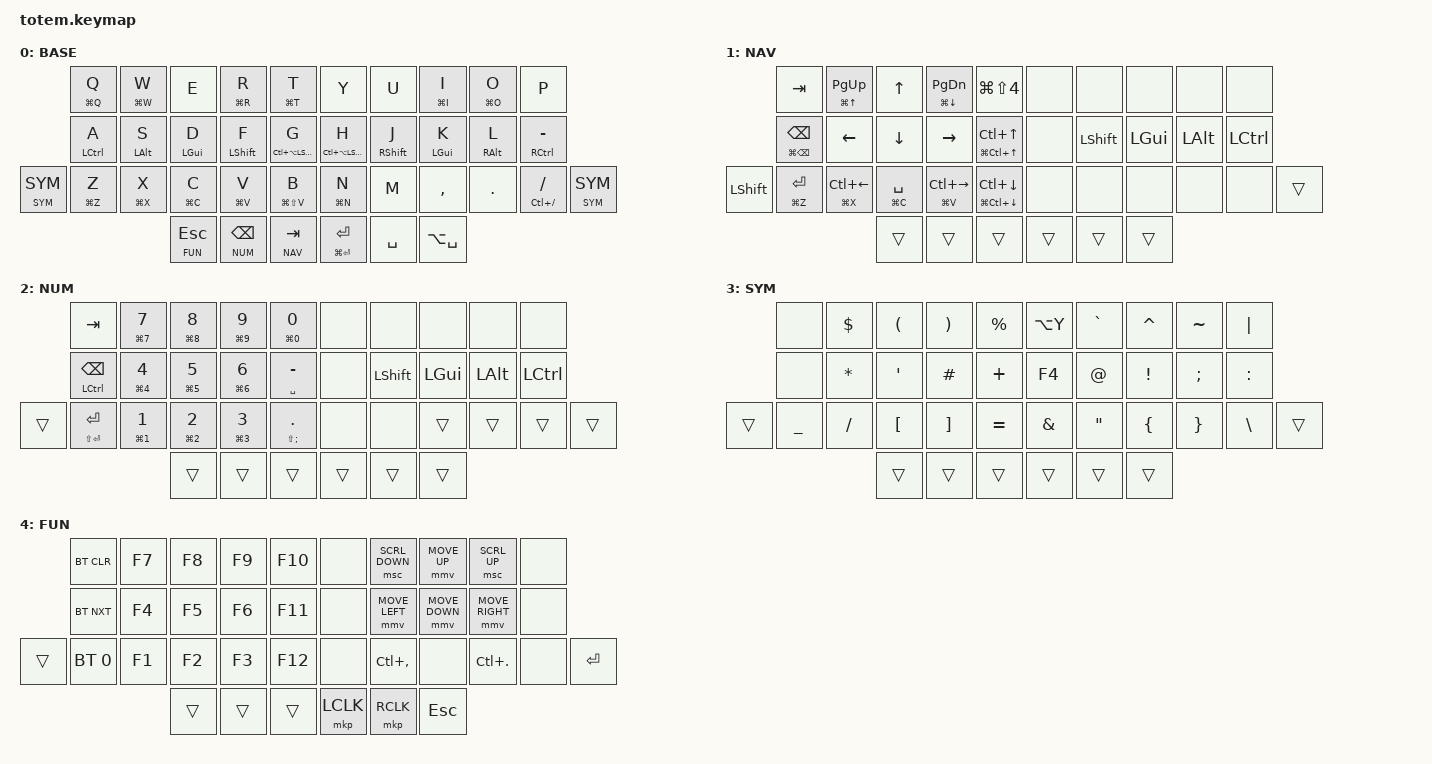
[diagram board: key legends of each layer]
//
//                                                        ▀▀▀▀▀     ▀▀▀▀▀          ▀▀█▀▀
//                                                        ▄▀▀▀▄  ▄  ▄▀▀▀▄  ▄  ▄▀▀▀▄  █  ▄▀▀▀▄
//                                                        █   █  █  █   █  █  █   █  █  █   █
//                                                         ▀▀▀   █   ▀▀▀   █   ▀▀▀   ▀   ▀▀▀
//                                                               █      ▄▄▄█▄▄▄    █   █  
//                                                               ▀      █  █  █     █▄█
//                                                             ▀▀▀▀▀    █  █  █      ▀
//                                                                      ▀  ▀  ▀
//
// ▄▄▄▄▄▄▄▄▄▄▄▄▄▄▄▄▄▄▄▄▄▄▄▄▄▄▄▄▄▄▄▄▄▄▄▄▄▄▄▄▄▄▄▄▄▄▄▄▄▄▄▄▄▄▄▄▄▄▄▄▄▄▄▄▄▄▄▄▄▄▄▄▄▄▄▄▄▄▄▄▄▄▄▄▄▄▄▄▄▄▄▄▄▄▄▄▄▄▄▄▄▄▄▄▄▄▄▄▄▄▄▄▄▄▄▄▄▄▄▄▄▄▄▄▄▄▄▄▄▄▄▄▄▄▄▄▄▄▄▄▄▄▄▄▄▄▄▄▄

// ═══════════════════════════════════════════════════════════════════
// MOUSE SPEEDS
// ═══════════════════════════════════════════════════════════════════
#define ZMK_POINTING_DEFAULT_MOVE_VAL 1000
#define ZMK_POINTING_DEFAULT_SCRL_VAL 20

// ═══════════════════════════════════════════════════════════════════
// INCLUDES
// ═══════════════════════════════════════════════════════════════════
#include <dt-bindings/zmk/pointing.h>   // Mouse control
#include <behaviors.dtsi>
#include <dt-bindings/zmk/keys.h>       // Standard key codes (A, B, LSHFT, etc.)
#include <dt-bindings/zmk/bt.h>         // Bluetooth controls (BT_NXT, BT_CLR, etc.)
#include <dt-bindings/zmk/outputs.h>    // Output toggle (USB vs BLE: OUT_TOG)
#include <dt-bindings/zmk/mouse.h>      // Mouse keys (mmv, mkp, msc)
// ═══════════════════════════════════════════════════════════════════
// LAYER INDEX
// ═══════════════════════════════════════════════════════════════════
#define BASE 0     // Default layer (QWERTY)
#define NAV  1     // Navigation
#define NUM  2     // Numpad
#define SYM  3     // Symbols
#define FUN  4     // Function keys, BLE & mouse

// ═══════════════════════════════════════════════════════════════════
// SHORTHAND MACRO
// MEH = Ctrl+Alt+Shift held simultaneously.
// ═══════════════════════════════════════════════════════════════════
#define MEH LC(LA(LSHFT))

// ═══════════════════════════════════════════════════════════════════
// HOLD-TAP GLOBAL SETTINGS (&mt = mod-tap)
// ═══════════════════════════════════════════════════════════════════
&mt {
  quick-tap-ms = <100>;
  global-quick-tap;
  flavor = "tap-preferred";
  tapping-term-ms = <220>;
};

/ {



    // ═══════════════════════════════════════════════════════════════
    // BEHAVIORS
    // ═══════════════════════════════════════════════════════════════
    behaviors {
        
        // OSL
        lt_sl: lt_sl {
            compatible = "zmk,behavior-hold-tap";
            #binding-cells = <2>;
            tapping-term-ms = <200>;
            quick-tap-ms = <100>;
            flavor = "tap-preferred";
            bindings = <&mo>, <&sl>;
        };

				// Slower tapping term for risky keys
				mt_slow: mt_slow {
    			compatible = "zmk,behavior-hold-tap";
    			#binding-cells = <2>;
    			tapping-term-ms = <400>; // Adjust delay here
    			quick-tap-ms = <100>;
    			flavor = "tap-preferred";
    			bindings = <&kp>, <&kp>;
				};

    };

    // ═══════════════════════════════════════════════════════════════
    // COMBOS
    // ═══════════════════════════════════════════════════════════════
    combos {
        compatible = "zmk,combos";

        // D+F (positions 12+13) → Eisu/EN input
        combo_eisu {
            timeout-ms = <50>;
            key-positions = <12 13>;
            bindings = <&kp LANG2>;
        };

        // J+K (positions 16+17) → Kana/JA input
        combo_kana {
            timeout-ms = <50>;
            key-positions = <16 17>;
            bindings = <&kp LANG1>;
        };

        // F+J (positions 13+16) → Caps Word
        combo_caps_word {
            timeout-ms = <100>;
            key-positions = <13 16>;
            bindings = <&caps_word>;
        };
    };

    // ═══════════════════════════════════════════════════════════════
    // MACROS
    // 
    // node_label: node_name {    ← define it here
    //   ...
    // }
    // 
    // &node_label    ← reference it like this in the keymap
    // ═══════════════════════════════════════════════════════════════
    macros {
      akqa: akqa {
        compatible = "zmk,behavior-macro";
        #binding-cells = <0>;
        bindings
          = <&macro_tap &kp LS(A) &kp LS(K) &kp LS(Q) &kp LS(A)>
        ;
      };
    };

    keymap {
        compatible = "zmk,keymap";

// ▄▄▄▄▄▄▄▄▄▄▄▄▄▄▄▄▄▄▄▄▄▄▄▄▄▄▄▄▄▄▄▄▄▄▄▄▄▄▄▄▄▄▄▄▄▄▄▄▄▄▄▄▄▄▄▄▄▄▄▄▄▄▄▄▄▄▄▄▄▄▄▄▄▄▄▄▄▄▄▄▄▄▄▄▄▄▄▄▄▄▄▄▄▄▄▄▄▄▄▄▄▄▄▄▄▄▄▄▄▄▄▄▄▄▄▄▄▄▄▄▄▄▄▄▄▄▄▄▄▄▄▄▄▄▄▄▄▄▄▄▄▄▄▄▄▄▄▄▄

        base_layer {
// ┏━━━━━━━━━━━━━━━━━━━━━━━━━━━━━━━━━━━━━━━┓
label= "BASE"                              ;
// ┗━━━━━━━━━━━━━━━━━━━━━━━━━━━━━━━━━━━━━━━┛
//             ┏━━━━━━━━━━━┳━━━━━━━━━━━┳━━━━━━━━━━━┳━━━━━━━━━━━┳━━━━━━━━━━━┓   ┏━━━━━━━━━━━┳━━━━━━━━━━━┳━━━━━━━━━━━┳━━━━━━━━━━━┳━━━━━━━━━━━┓
//             ┃     Q     ┃     W     ┃     E     ┃     R     ┃     T     ┃   ┃     Y     ┃     U     ┃     I     ┃     O     ┃     P     ┃
//             ┣━━━━━━━━━━━╋━━━━━━━━━━━╋━━━━━━━━━━━╋━━━━━━━━━━━╋━━━━━━━━━━━┫   ┣━━━━━━━━━━━╋━━━━━━━━━━━╋━━━━━━━━━━━╋━━━━━━━━━━━╋━━━━━━━━━━━┫
//             ┃    ⌃ A    ┃    ⌥ S    ┃    ⌘ D    ┃    ⇧ F    ┃   ⌃⌥⇧ G   ┃   ┃   ⌃⌥⇧ H   ┃    ⇧ J    ┃    ⌘ K    ┃    ⌥ L    ┃    ⌃ -    ┃
// ┏━━━━━━━━━━━╋━━━━━━━━━━━╋━━━━━━━━━━━╋━━━━━━━━━━━╋━━━━━━━━━━━╋━━━━━━━━━━━┫   ┣━━━━━━━━━━━╋━━━━━━━━━━━╋━━━━━━━━━━━╋━━━━━━━━━━━╋━━━━━━━━━━━╋━━━━━━━━━━━┓
// ┃    SYM    ┃     Z     ┃     X     ┃     C     ┃     V     ┃     B     ┃   ┃     N     ┃     M     ┃     ,     ┃     .     ┃     /     ┃    SYM    ┃
// ┗━━━━━━━━━━━┻━━━━━━━━━━━┻━━━━━━━━━━━╋━━━━━━━━━━━╋━━━━━━━━━━━╋━━━━━━━━━━━┫   ┣━━━━━━━━━━━╋━━━━━━━━━━━╋━━━━━━━━━━━╋━━━━━━━━━━━┻━━━━━━━━━━━┻━━━━━━━━━━━┛
//                                     ┃  FUN/ESC  ┃  NUM/BSPC ┃  NAV/TAB  ┃   ┃   ENTER   ┃   SPACE   ┃   ALFRED  ┃
//                                     ┗━━━━━━━━━━━┻━━━━━━━━━━━┻━━━━━━━━━━━┛   ┗━━━━━━━━━━━┻━━━━━━━━━━━┻━━━━━━━━━━━┛
        bindings = <
//  Note: LGUI is used on RH instead of RGUI because RGUI is remapped to Meh in OS via Superkey.app for when using other keyboards

                      &mt_slow LG(Q) Q    &mt_slow LG(W) W  &kp E           &mt_slow LG(R) R    	&mt LG(T) T         &kp Y               &kp U              &mt LG(I) I       &mt LG(O) O     &kp P
                      &mt LCTRL A   	  &mt LALT S     	&mt LGUI D      &mt LSHFT F    			&mt MEH G           &mt MEH H           &mt RSHFT J        &mt LGUI K        &mt RALT L      &mt RCTRL MINUS
    &lt_sl SYM SYM    &mt LG(Z) Z   	  &mt LG(X) X    	&mt LG(C) C     &mt LG(V) V     		&mt LG(LS(V)) B     &mt LG(N) N         &kp M              &kp COMMA         &kp DOT         &mt LC(FSLH) FSLH    &lt_sl SYM SYM
                                                    		&lt FUN ESC     &lt NUM BSPC   			&lt NAV TAB         &mt LG(RET) RET     &kp SPACE 		   &kp LA(SPACE)
                >;
        };

// ▄▄▄▄▄▄▄▄▄▄▄▄▄▄▄▄▄▄▄▄▄▄▄▄▄▄▄▄▄▄▄▄▄▄▄▄▄▄▄▄▄▄▄▄▄▄▄▄▄▄▄▄▄▄▄▄▄▄▄▄▄▄▄▄▄▄▄▄▄▄▄▄▄▄▄▄▄▄▄▄▄▄▄▄▄▄▄▄▄▄▄▄▄▄▄▄▄▄▄▄▄▄▄▄▄▄▄▄▄▄▄▄▄▄▄▄▄▄▄▄▄▄▄▄▄▄▄▄▄▄▄▄▄▄▄▄▄▄▄▄▄▄▄▄▄▄▄▄▄

        nav_layer {
// ┏━━━━━━━━━━━━━━━━━━━━━━━━━━━━━━━━━━━━━━━┓
label= "NAV"                               ;
// ┗━━━━━━━━━━━━━━━━━━━━━━━━━━━━━━━━━━━━━━━┛
//             ┏━━━━━━━━━━━┳━━━━━━━━━━━┳━━━━━━━━━━━┳━━━━━━━━━━━┳━━━━━━━━━━━┓   ┏━━━━━━━━━━━┳━━━━━━━━━━━┳━━━━━━━━━━━┳━━━━━━━━━━━┳━━━━━━━━━━━┓
//             ┃    TAB    ┃   PG UP   ┃     ↑     ┃   PG DN   ┃   SCREEN  ┃   ┃           ┃           ┃           ┃           ┃           ┃
//             ┣━━━━━━━━━━━╋━━━━━━━━━━━╋━━━━━━━━━━━╋━━━━━━━━━━━╋━━━━━━━━━━━┫   ┣━━━━━━━━━━━╋━━━━━━━━━━━╋━━━━━━━━━━━╋━━━━━━━━━━━╋━━━━━━━━━━━┫
//             ┃    BSPC   ┃     ←     ┃     ↓     ┃     →     ┃   ZOOM +  ┃   ┃           ┃    SFT    ┃    CMD    ┃    OPT    ┃   CTRL    ┃
// ┏━━━━━━━━━━━╋━━━━━━━━━━━╋━━━━━━━━━━━╋━━━━━━━━━━━╋━━━━━━━━━━━╋━━━━━━━━━━━┫   ┣━━━━━━━━━━━╋━━━━━━━━━━━╋━━━━━━━━━━━╋━━━━━━━━━━━╋━━━━━━━━━━━╋━━━━━━━━━━━┓
// ┃   SHIFT   ┃   ENTER   ┃   ← PREV  ┃   SPACE   ┃   NEXT →  ┃   ZOOM -  ┃   ┃           ┃           ┃           ┃           ┃           ┃  (trans)  ┃
// ┗━━━━━━━━━━━┻━━━━━━━━━━━┻━━━━━━━━━━━╋━━━━━━━━━━━╋━━━━━━━━━━━╋━━━━━━━━━━━┫   ┣━━━━━━━━━━━╋━━━━━━━━━━━╋━━━━━━━━━━━╋━━━━━━━━━━━┻━━━━━━━━━━━┻━━━━━━━━━━━┛
//                                     ┃  (trans)  ┃  (trans)  ┃   (held)  ┃   ┃  (trans)  ┃  (trans)  ┃  (trans)  ┃
//                                     ┗━━━━━━━━━━━┻━━━━━━━━━━━┻━━━━━━━━━━━┛   ┗━━━━━━━━━━━┻━━━━━━━━━━━┻━━━━━━━━━━━┛
        bindings = <

                &kp TAB             &mt LG(UP) PG_UP     &kp UP              &mt LG(DOWN) PG_DN   &kp LG(LS(N4))        		&none         &none         &none          &none          &none
                &mt LG(BSPC) BSPC   &kp LEFT             &kp DOWN            &kp RIGHT            &mt LG(LC(UP)) LC(UP)    	 	&none         &kp LSHFT     &kp LGUI       &kp LALT       &kp LCTRL
    &kp LSHFT   &mt LG(Z) RET       &mt LG(X) LC(LEFT)   &mt LG(C) SPACE     &mt LG(V) LC(RIGHT)  &mt LG(LC(DOWN)) LC(DOWN)     &none         &none         &none          &none          &none        &trans
                                                         &trans              &trans               &trans                		&trans        &trans        &trans
                >; 
        };

// ▄▄▄▄▄▄▄▄▄▄▄▄▄▄▄▄▄▄▄▄▄▄▄▄▄▄▄▄▄▄▄▄▄▄▄▄▄▄▄▄▄▄▄▄▄▄▄▄▄▄▄▄▄▄▄▄▄▄▄▄▄▄▄▄▄▄▄▄▄▄▄▄▄▄▄▄▄▄▄▄▄▄▄▄▄▄▄▄▄▄▄▄▄▄▄▄▄▄▄▄▄▄▄▄▄▄▄▄▄▄▄▄▄▄▄▄▄▄▄▄▄▄▄▄▄▄▄▄▄▄▄▄▄▄▄▄▄▄▄▄▄▄▄▄▄▄▄▄▄

        num_layer {
// ┏━━━━━━━━━━━━━━━━━━━━━━━━━━━━━━━━━━━━━━━┓
label= "NUM"                               ;
// ┗━━━━━━━━━━━━━━━━━━━━━━━━━━━━━━━━━━━━━━━┛
//             ┏━━━━━━━━━━━┳━━━━━━━━━━━┳━━━━━━━━━━━┳━━━━━━━━━━━┳━━━━━━━━━━━┓   ┏━━━━━━━━━━━┳━━━━━━━━━━━┳━━━━━━━━━━━┳━━━━━━━━━━━┳━━━━━━━━━━━┓
//             ┃    TAB    ┃     7     ┃     8     ┃     9     ┃     0     ┃   ┃           ┃           ┃           ┃           ┃           ┃
//             ┣━━━━━━━━━━━╋━━━━━━━━━━━╋━━━━━━━━━━━╋━━━━━━━━━━━╋━━━━━━━━━━━┫   ┣━━━━━━━━━━━╋━━━━━━━━━━━╋━━━━━━━━━━━╋━━━━━━━━━━━╋━━━━━━━━━━━┫
//             ┃    BSPC   ┃     4     ┃     5     ┃     6     ┃     -     ┃   ┃           ┃    SFT    ┃    CMD    ┃    OPT    ┃   CTRL    ┃
// ┏━━━━━━━━━━━╋━━━━━━━━━━━╋━━━━━━━━━━━╋━━━━━━━━━━━╋━━━━━━━━━━━╋━━━━━━━━━━━┫   ┣━━━━━━━━━━━╋━━━━━━━━━━━╋━━━━━━━━━━━╋━━━━━━━━━━━╋━━━━━━━━━━━╋━━━━━━━━━━━┓
// ┃    SYM    ┃   ENTER   ┃     1     ┃     2     ┃     3     ┃     .     ┃   ┃           ┃           ┃     ,     ┃     .     ┃     /     ┃    SYM    ┃
// ┗━━━━━━━━━━━┻━━━━━━━━━━━┻━━━━━━━━━━━╋━━━━━━━━━━━╋━━━━━━━━━━━╋━━━━━━━━━━━┫   ┣━━━━━━━━━━━╋━━━━━━━━━━━╋━━━━━━━━━━━╋━━━━━━━━━━━┻━━━━━━━━━━━┻━━━━━━━━━━━┛
//                                     ┃  (trans)  ┃   (held)  ┃  (trans)  ┃   ┃  (trans)  ┃  (trans)  ┃  (trans)  ┃
//                                     ┗━━━━━━━━━━━┻━━━━━━━━━━━┻━━━━━━━━━━━┛   ┗━━━━━━━━━━━┻━━━━━━━━━━━┻━━━━━━━━━━━┛
        bindings = <

                &kp TAB             &mt LG(N7) N7   &mt LG(N8) N8   &mt LG(N9) N9   &mt LG(N0) N0          &none    &none       &none       &none       &none
                &mt LCTRL BSPC      &mt LG(N4) N4   &mt LG(N5) N5   &mt LG(N6) N6   &mt SPACE MINUS        &none    &kp LSHFT   &kp LGUI    &kp LALT    &kp LCTRL
    &trans      &mt LS(RET) RET     &mt LG(N1) N1   &mt LG(N2) N2   &mt LG(N3) N3   &mt LS(SEMI) DOT       &none    &none       &trans      &trans      &trans        &trans
                                                    &trans          &trans          &trans                 &trans   &trans      &trans
                >;
        };

// ▄▄▄▄▄▄▄▄▄▄▄▄▄▄▄▄▄▄▄▄▄▄▄▄▄▄▄▄▄▄▄▄▄▄▄▄▄▄▄▄▄▄▄▄▄▄▄▄▄▄▄▄▄▄▄▄▄▄▄▄▄▄▄▄▄▄▄▄▄▄▄▄▄▄▄▄▄▄▄▄▄▄▄▄▄▄▄▄▄▄▄▄▄▄▄▄▄▄▄▄▄▄▄▄▄▄▄▄▄▄▄▄▄▄▄▄▄▄▄▄▄▄▄▄▄▄▄▄▄▄▄▄▄▄▄▄▄▄▄▄▄▄▄▄▄▄▄▄▄

        sym_layer {
// ┏━━━━━━━━━━━━━━━━━━━━━━━━━━━━━━━━━━━━━━━┓
label= "SYM"                               ;
// ┗━━━━━━━━━━━━━━━━━━━━━━━━━━━━━━━━━━━━━━━┛
//             ┏━━━━━━━━━━━┳━━━━━━━━━━━┳━━━━━━━━━━━┳━━━━━━━━━━━┳━━━━━━━━━━━┓   ┏━━━━━━━━━━━┳━━━━━━━━━━━┳━━━━━━━━━━━┳━━━━━━━━━━━┳━━━━━━━━━━━┓
//             ┃           ┃     $     ┃     (     ┃     )     ┃     %     ┃   ┃     ¥     ┃     `     ┃     ^     ┃     ~     ┃     |     ┃
//             ┣━━━━━━━━━━━╋━━━━━━━━━━━╋━━━━━━━━━━━╋━━━━━━━━━━━╋━━━━━━━━━━━┫   ┣━━━━━━━━━━━╋━━━━━━━━━━━╋━━━━━━━━━━━╋━━━━━━━━━━━╋━━━━━━━━━━━┫
//             ┃           ┃     *     ┃     '     ┃     #     ┃     +     ┃   ┃   GLYPHS  ┃     @     ┃     !     ┃     ;     ┃     :     ┃
// ┏━━━━━━━━━━━╋━━━━━━━━━━━╋━━━━━━━━━━━╋━━━━━━━━━━━╋━━━━━━━━━━━╋━━━━━━━━━━━┫   ┣━━━━━━━━━━━╋━━━━━━━━━━━╋━━━━━━━━━━━╋━━━━━━━━━━━╋━━━━━━━━━━━╋━━━━━━━━━━━┓
// ┃  (held)   ┃     _     ┃     /     ┃     [     ┃     ]     ┃     =     ┃   ┃     &     ┃     "     ┃     {     ┃     }     ┃     \     ┃   (held)  ┃
// ┗━━━━━━━━━━━┻━━━━━━━━━━━┻━━━━━━━━━━━╋━━━━━━━━━━━╋━━━━━━━━━━━╋━━━━━━━━━━━┫   ┣━━━━━━━━━━━╋━━━━━━━━━━━╋━━━━━━━━━━━╋━━━━━━━━━━━┻━━━━━━━━━━━┻━━━━━━━━━━━┛
//                                     ┃  (trans)  ┃  (trans)  ┃  (trans)  ┃   ┃  (trans)  ┃  (trans)  ┃  (trans)  ┃
//                                     ┗━━━━━━━━━━━┻━━━━━━━━━━━┻━━━━━━━━━━━┛   ┗━━━━━━━━━━━┻━━━━━━━━━━━┻━━━━━━━━━━━┛
        bindings = <

                &none           &kp DOLLAR      &kp LPAR    &kp RPAR    &kp PERCENT     &kp LA(Y) 	    &kp GRAVE       &kp CARET      &kp TILDE       &kp PIPE
                &none           &kp ASTRK       &kp SQT     &kp HASH    &kp PLUS        &kp F4          &kp AT          &kp EXCL       &kp SEMI        &kp COLON
    &trans      &kp UNDER       &kp FSLH        &kp LBKT    &kp RBKT    &kp EQUAL       &kp AMPS        &kp DQT         &kp LBRC       &kp RBRC        &kp BACKSLASH     &trans
                                                &trans		&trans		&trans			&trans			&trans		 	&trans
                >;
        };

// ▄▄▄▄▄▄▄▄▄▄▄▄▄▄▄▄▄▄▄▄▄▄▄▄▄▄▄▄▄▄▄▄▄▄▄▄▄▄▄▄▄▄▄▄▄▄▄▄▄▄▄▄▄▄▄▄▄▄▄▄▄▄▄▄▄▄▄▄▄▄▄▄▄▄▄▄▄▄▄▄▄▄▄▄▄▄▄▄▄▄▄▄▄▄▄▄▄▄▄▄▄▄▄▄▄▄▄▄▄▄▄▄▄▄▄▄▄▄▄▄▄▄▄▄▄▄▄▄▄▄▄▄▄▄▄▄▄▄▄▄▄▄▄▄▄▄▄▄▄


        fun_layer {
// ┏━━━━━━━━━━━━━━━━━━━━━━━━━━━━━━━━━━━━━━━┓
label= "FUN"                             ;
// ┗━━━━━━━━━━━━━━━━━━━━━━━━━━━━━━━━━━━━━━━┛
//             ┏━━━━━━━━━━━┳━━━━━━━━━━━┳━━━━━━━━━━━┳━━━━━━━━━━━┳━━━━━━━━━━━┓   ┏━━━━━━━━━━━┳━━━━━━━━━━━┳━━━━━━━━━━━┳━━━━━━━━━━━┳━━━━━━━━━━━┓
//             ┃   BT CLR  ┃    F7     ┃    F8     ┃    F9     ┃    F10    ┃   ┃           ┃   SCRL ↓  ┃  MOUSE ↑  ┃   SCRL ↑  ┃           ┃
//             ┣━━━━━━━━━━━╋━━━━━━━━━━━╋━━━━━━━━━━━╋━━━━━━━━━━━╋━━━━━━━━━━━┫   ┣━━━━━━━━━━━╋━━━━━━━━━━━╋━━━━━━━━━━━╋━━━━━━━━━━━╋━━━━━━━━━━━┫
//             ┃  BT NEXT  ┃    F4     ┃    F5     ┃    F6     ┃    F11    ┃   ┃           ┃  ← MOUSE  ┃  MOUSE ↓  ┃   MOUSE → ┃           ┃
// ┏━━━━━━━━━━━╋━━━━━━━━━━━╋━━━━━━━━━━━╋━━━━━━━━━━━╋━━━━━━━━━━━╋━━━━━━━━━━━┫   ┣━━━━━━━━━━━╋━━━━━━━━━━━╋━━━━━━━━━━━╋━━━━━━━━━━━╋━━━━━━━━━━━╋━━━━━━━━━━━┓
// ┃  (trans)  ┃  BT ZERO  ┃    F1     ┃    F2     ┃    F3     ┃    F12    ┃   ┃           ┃  ← BACK   ┃           ┃    FWD →  ┃           ┃   ENTER   ┃
// ┗━━━━━━━━━━━┻━━━━━━━━━━━┻━━━━━━━━━━━╋━━━━━━━━━━━╋━━━━━━━━━━━╋━━━━━━━━━━━┫   ┣━━━━━━━━━━━╋━━━━━━━━━━━╋━━━━━━━━━━━╋━━━━━━━━━━━┻━━━━━━━━━━━┻━━━━━━━━━━━┛
//                                     ┃  (held)   ┃  (trans)  ┃  (trans)  ┃   ┃  L CLICK  ┃  R CLICK  ┃    ESC    ┃
//                                     ┗━━━━━━━━━━━┻━━━━━━━━━━━┻━━━━━━━━━━━┛   ┗━━━━━━━━━━━┻━━━━━━━━━━━┻━━━━━━━━━━━┛

        bindings = <

                &bt BT_CLR   	&kp F7         &kp F8          &kp F9          &kp F10            &none       			&msc SCRL_DOWN    &mmv MOVE_UP      &msc SCRL_UP      &none
                &bt BT_NXT  	&kp F4         &kp F5          &kp F6          &kp F11            &none       			&mmv MOVE_LEFT    &mmv MOVE_DOWN    &mmv MOVE_RIGHT   &none
    &trans      &bt BT_SEL 0  	&kp F1         &kp F2          &kp F3          &kp F12            &none      		 	&kp LC(COMMA)	  &none            	&kp LC(DOT)       &none		&kp RET
                                               &trans          &trans          &trans             &mkp LCLK     		&mkp RCLK         &kp ESC
                >;
        };

    };
};
